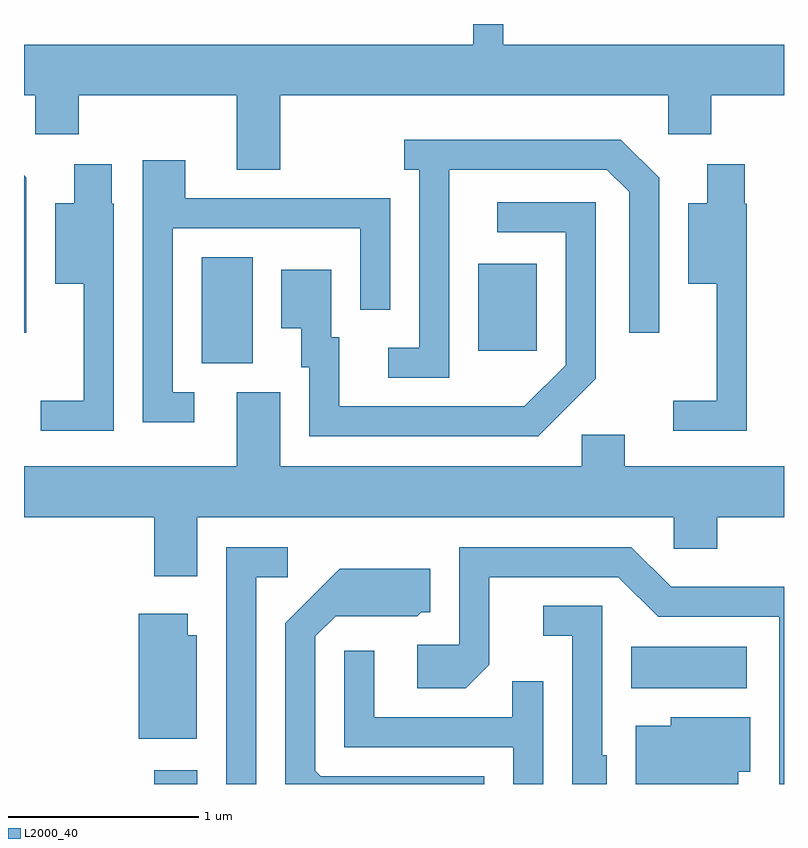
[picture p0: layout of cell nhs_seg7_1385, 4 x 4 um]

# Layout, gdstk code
import gdstk
lib = gdstk.Library(unit=1e-6, precision=1e-09)
def R(c, l, rs):  # rectangles x0, y0, x1, y1
    for r in rs: c.add(gdstk.rectangle(r[:2], r[2:], *l))
def P(c, l, *ps):  # polygons
    for p in ps: c.add(gdstk.Polygon(p, *l))
L2000_40 = (2000, 40)

nhs_seg7_1385 = lib.new_cell('nhs_seg7_1385')
R(nhs_seg7_1385, L2000_40, [(228.296,1706.252,228.524,1706.324), (230.806,1706.756,231.414,1706.974), (228.546,1708.466,228.814,1709.024), (230.001,1708.531,230.309,1708.989)])
P(nhs_seg7_1385, L2000_40, [(228.959,1709.876),(231.001,1709.876),(231.001,1709.671),(231.229,1709.671),(231.229,1709.876),(231.611,1709.876),(231.611,1710.144),(230.134,1710.144),(230.134,1710.252),(229.976,1710.252),(229.976,1710.144),(227.611,1710.144),(227.611,1709.876),(227.671,1709.876),(227.671,1709.671),(227.899,1709.671),(227.899,1709.876),(228.731,1709.876),(228.731,1709.486),(228.959,1709.486)],
  [(229.849,1709.486),(230.679,1709.486),(230.796,1709.369),(230.796,1708.628),(230.954,1708.628),(230.954,1709.442),(230.752,1709.644),(229.613,1709.644),(229.613,1709.486),(229.691,1709.486),(229.691,1708.549),(229.528,1708.549),(229.528,1708.391),(229.849,1708.391)],
  [(228.508,1708.314),(228.394,1708.314),(228.394,1709.176),(229.381,1709.176),(229.381,1708.748),(229.539,1708.748),(229.539,1709.334),(228.459,1709.334),(228.459,1709.534),(228.236,1709.534),(228.236,1708.156),(228.508,1708.156)],
  [(228.084,1709.305),(228.074,1709.305),(228.074,1709.514),(227.876,1709.514),(227.876,1709.309),(227.776,1709.309),(227.776,1708.886),(227.926,1708.886),(227.926,1708.269),(227.698,1708.269),(227.698,1708.111),(228.084,1708.111)],
  [(231.414,1709.305),(231.404,1709.305),(231.404,1709.514),(231.206,1709.514),(231.206,1709.309),(231.106,1709.309),(231.106,1708.886),(231.256,1708.886),(231.256,1708.269),(231.028,1708.269),(231.028,1708.111),(231.414,1708.111)],
  [(227.624,1709.442),(227.611,1709.455),(227.611,1708.628),(227.624,1708.628)],
  [(230.619,1708.384),(230.619,1709.314),(230.103,1709.314),(230.103,1709.156),(230.461,1709.156),(230.461,1708.457),(230.244,1708.239),(229.269,1708.239),(229.269,1708.604),(229.229,1708.604),(229.229,1708.959),(228.966,1708.959),(228.966,1708.651),(229.071,1708.651),(229.071,1708.446),(229.111,1708.446),(229.111,1708.081),(230.317,1708.081)],
  [(228.524,1707.656),(231.031,1707.656),(231.031,1707.491),(231.259,1707.491),(231.259,1707.656),(231.611,1707.656),(231.611,1707.924),(230.774,1707.924),(230.774,1708.089),(230.546,1708.089),(230.546,1707.924),(228.959,1707.924),(228.959,1708.314),(228.731,1708.314),(228.731,1707.924),(227.611,1707.924),(227.611,1707.656),(228.296,1707.656),(228.296,1707.346),(228.524,1707.346)],
  [(228.834,1707.341),(228.998,1707.341),(228.998,1707.499),(228.676,1707.499),(228.676,1706.252),(228.834,1706.252)],
  [(231.611,1707.289),(231.017,1707.289),(230.807,1707.499),(229.901,1707.499),(229.901,1706.984),(229.681,1706.984),(229.681,1706.756),(229.937,1706.756),(230.059,1706.879),(230.059,1707.341),(230.739,1707.341),(230.949,1707.131),(231.586,1707.131),(231.586,1706.252),(231.611,1706.252)],
  [(230.034,1706.294),(229.172,1706.294),(229.144,1706.322),(229.144,1707.029),(229.252,1707.136),(229.682,1707.136),(229.702,1707.156),(229.749,1707.156),(229.749,1707.384),(229.274,1707.384),(228.986,1707.097),(228.986,1706.252),(230.034,1706.252)],
  [(230.679,1706.404),(230.654,1706.404),(230.654,1707.189),(230.343,1707.189),(230.343,1707.031),(230.496,1707.031),(230.496,1706.252),(230.679,1706.252)],
  [(228.519,1707.034),(228.474,1707.034),(228.474,1707.149),(228.216,1707.149),(228.216,1706.491),(228.519,1706.491)],
  [(230.344,1706.793),(230.181,1706.793),(230.181,1706.604),(229.454,1706.604),(229.454,1706.953),(229.296,1706.953),(229.296,1706.446),(230.186,1706.446),(230.186,1706.252),(230.344,1706.252)],
  [(231.369,1706.316),(231.434,1706.316),(231.434,1706.604),(231.016,1706.604),(231.016,1706.559),(230.831,1706.559),(230.831,1706.252),(231.369,1706.252)])

lib.write_gds('nhs_seg7_1385.gds')
